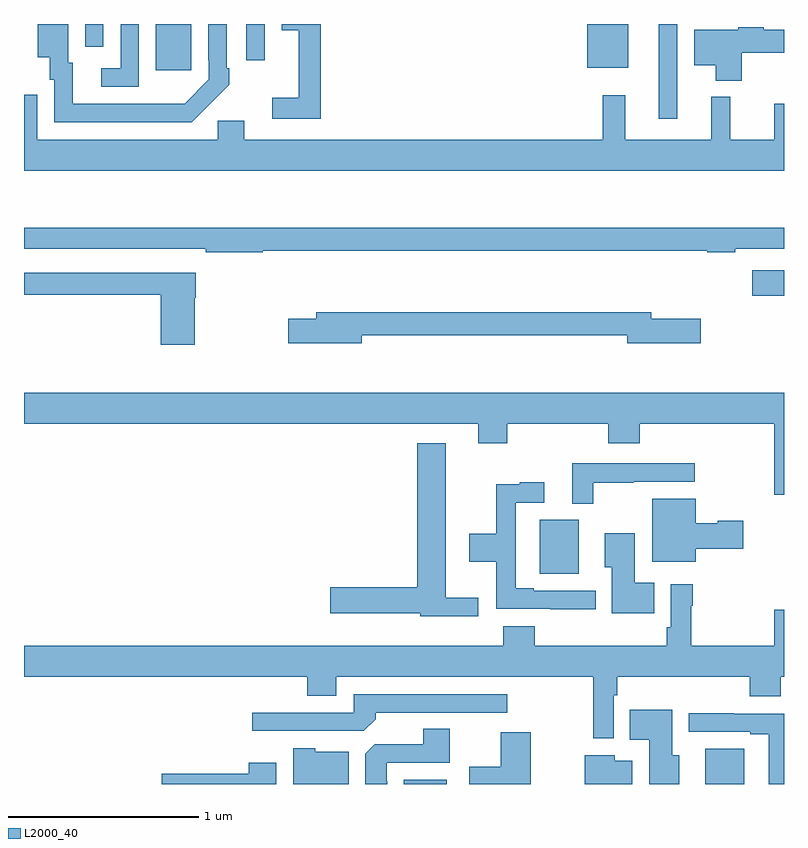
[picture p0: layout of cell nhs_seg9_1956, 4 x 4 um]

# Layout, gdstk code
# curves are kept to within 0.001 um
import gdstk
lib = gdstk.Library(unit=1e-6, precision=1e-09)
def R(c, l, rs):  # rectangles x0, y0, x1, y1
    for r in rs: c.add(gdstk.rectangle(r[:2], r[2:], *l))
def P(c, l, *ps):  # polygons
    for p in ps: c.add(gdstk.Polygon(p, *l))
L2000_40 = (2000, 40)

nhs_seg9_1956 = lib.new_cell('nhs_seg9_1956')
R(nhs_seg9_1956, L2000_40, [(222.998,1218.5,223.225,1218.523), (224.585,1218.5,224.791,1218.685), (223.715,1219.607,223.921,1219.891), (224.832,1221.071,225,1221.205), (224.342,1222.002,224.439,1222.5), (221.693,1222.257,221.881,1222.5), (223.964,1222.271,224.179,1222.5), (222.171,1222.308,222.267,1222.5), (221.322,1222.38,221.418,1222.5)])
P(nhs_seg9_1956, L2000_40, [(221.975,1222.075),(221.976,1222.074),(222.081,1222.179),(222.081,1222.267),(222.066,1222.267),(222.066,1222.5),(221.97,1222.5),(221.97,1222.309),(221.973,1222.309),(221.973,1222.209),(221.845,1222.081),(221.741,1222.08),(221.257,1222.08),(221.257,1222.296),(221.233,1222.296),(221.233,1222.5),(221.072,1222.5),(221.072,1222.325),(221.135,1222.325),(221.135,1222.206),(221.16,1222.206),(221.16,1221.984),(221.884,1221.984)],
  [(221.604,1222.5),(221.508,1222.5),(221.508,1222.266),(221.406,1222.266),(221.406,1222.17),(221.604,1222.17)],
  [(222.563,1222.5),(222.356,1222.5),(222.356,1222.466),(222.446,1222.466),(222.446,1222.111),(222.306,1222.111),(222.306,1222.002),(222.563,1222.002)],
  [(224.777,1222.349),(225,1222.349),(225,1222.471),(224.894,1222.471),(224.894,1222.484),(224.76,1222.484),(224.76,1222.471),(224.528,1222.471),(224.528,1222.283),(224.642,1222.283),(224.642,1222.202),(224.777,1222.202)],
  [(225,1222.081),(224.948,1222.081),(224.948,1221.892),(224.718,1221.892),(224.718,1222.117),(224.618,1222.117),(224.618,1221.892),(224.165,1221.892),(224.165,1222.126),(224.047,1222.126),(224.047,1221.892),(222.16,1221.892),(222.16,1221.99),(222.021,1221.99),(222.021,1221.892),(221.071,1221.892),(221.071,1222.128),(221,1222.128),(221,1221.728),(225,1221.728)],
  [(222.256,1221.306),(224.596,1221.306),(224.596,1221.298),(224.744,1221.298),(224.744,1221.318),(225,1221.318),(225,1221.427),(221,1221.427),(221,1221.318),(221.956,1221.318),(221.956,1221.298),(222.256,1221.298)],
  [(221.898,1221.059),(221.903,1221.059),(221.903,1221.192),(221,1221.192),(221,1221.076),(221.72,1221.076),(221.72,1220.811),(221.898,1220.811)],
  [(222.778,1220.862),(224.174,1220.862),(224.174,1220.819),(224.563,1220.819),(224.563,1220.949),(224.302,1220.949),(224.302,1220.983),(222.539,1220.983),(222.539,1220.949),(222.39,1220.949),(222.39,1220.819),(222.778,1220.819)],
  [(225,1220.56),(221,1220.56),(221,1220.396),(223.391,1220.396),(223.391,1220.294),(223.544,1220.294),(223.544,1220.396),(224.075,1220.396),(224.075,1220.294),(224.24,1220.294),(224.24,1220.396),(224.948,1220.396),(224.948,1220.022),(225,1220.022)],
  [(223.39,1219.481),(223.219,1219.481),(223.219,1220.293),(223.07,1220.293),(223.07,1219.535),(222.612,1219.535),(222.612,1219.4),(223.086,1219.4),(223.086,1219.382),(223.39,1219.382)],
  [(223.996,1220.086),(224.21,1220.086),(224.21,1220.091),(224.53,1220.091),(224.53,1220.187),(223.886,1220.187),(223.886,1219.976),(223.996,1219.976)],
  [(224.008,1219.518),(223.684,1219.518),(223.684,1219.531),(223.587,1219.531),(223.587,1219.98),(223.738,1219.98),(223.738,1220.089),(223.61,1220.089),(223.61,1220.078),(223.486,1220.078),(223.486,1219.818),(223.344,1219.818),(223.344,1219.67),(223.486,1219.67),(223.486,1219.422),(223.771,1219.422),(223.771,1219.421),(224.008,1219.421)],
  [(224.536,1219.739),(224.785,1219.739),(224.785,1219.886),(224.652,1219.886),(224.652,1219.873),(224.536,1219.873),(224.536,1220.002),(224.306,1220.002),(224.306,1219.67),(224.536,1219.67)],
  [(224.318,1219.558),(224.215,1219.558),(224.215,1219.819),(224.057,1219.819),(224.057,1219.642),(224.093,1219.642),(224.093,1219.4),(224.318,1219.4)],
  [(224.103,1218.968),(224.123,1218.968),(224.123,1219.064),(224.819,1219.064),(224.819,1218.962),(224.984,1218.962),(224.984,1219.064),(225,1219.064),(225,1219.417),(224.948,1219.417),(224.948,1219.228),(224.512,1219.228),(224.512,1219.439),(224.519,1219.439),(224.519,1219.552),(224.403,1219.552),(224.403,1219.324),(224.383,1219.324),(224.383,1219.228),(223.688,1219.228),(223.688,1219.33),(223.523,1219.33),(223.523,1219.228),(221,1219.228),(221,1219.064),(222.491,1219.064),(222.491,1218.965),(222.643,1218.965),(222.643,1219.064),(223.995,1219.064),(223.995,1218.741),(224.103,1218.741)],
  [(222.851,1218.842),(222.851,1218.876),(223.543,1218.876),(223.543,1218.972),(222.735,1218.972),(222.735,1218.876),(222.201,1218.876),(222.201,1218.78),(222.789,1218.78)],
  [(224.449,1218.651),(224.413,1218.651),(224.413,1218.892),(224.188,1218.892),(224.188,1218.734),(224.291,1218.734),(224.291,1218.5),(224.449,1218.5)],
  [(225,1218.87),(224.735,1218.87),(224.735,1218.872),(224.498,1218.872),(224.498,1218.774),(224.822,1218.774),(224.822,1218.762),(224.919,1218.762),(224.919,1218.5),(225,1218.5)],
  [(222.913,1218.515),(222.909,1218.515),(222.909,1218.612),(223.24,1218.612),(223.24,1218.791),(223.1,1218.791),(223.1,1218.708),(222.846,1218.708),(222.797,1218.659),(222.797,1218.5),(222.913,1218.5)],
  [(223.666,1218.772),(223.508,1218.772),(223.508,1218.592),(223.344,1218.592),(223.344,1218.5),(223.666,1218.5)],
  [(222.709,1218.67),(222.534,1218.67),(222.534,1218.688),(222.416,1218.688),(222.416,1218.5),(222.709,1218.5)],
  [(224.2,1218.622),(224.11,1218.622),(224.11,1218.652),(223.952,1218.652),(223.952,1218.5),(224.2,1218.5)],
  [(222.328,1218.613),(222.182,1218.613),(222.182,1218.554),(221.724,1218.554),(221.724,1218.5),(222.328,1218.5)])

lib.write_gds('nhs_seg9_1956.gds')
